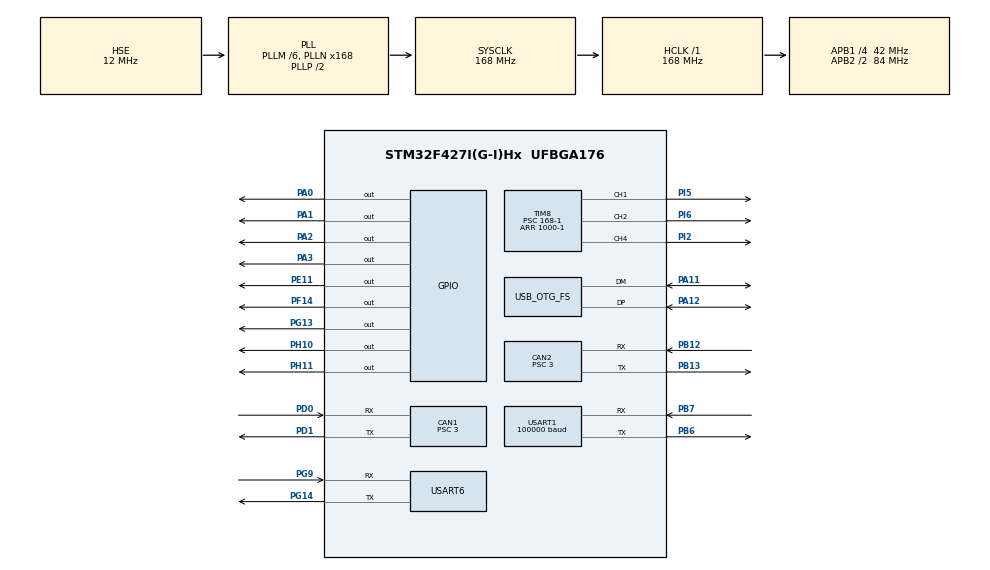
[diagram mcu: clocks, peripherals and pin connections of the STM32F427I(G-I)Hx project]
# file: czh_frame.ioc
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CAN1.BS1=CAN_BS1_9TQ
CAN1.BS2=CAN_BS2_4TQ
CAN1.CalculateBaudRate=1000000
CAN1.CalculateTimeBit=1000
CAN1.CalculateTimeQuantum=71.42857142857143
CAN1.Prescaler=3
CAN2.BS1=CAN_BS1_9TQ
CAN2.BS2=CAN_BS2_4TQ
CAN2.CalculateBaudRate=1000000
CAN2.CalculateTimeBit=1000
CAN2.CalculateTimeQuantum=71.42857142857143
CAN2.Prescaler=3
Dma.Request0=USART1_RX
Dma.USART1_RX.0.Direction=DMA_PERIPH_TO_MEMORY
Dma.USART1_RX.0.FIFOMode=DMA_FIFOMODE_DISABLE
Dma.USART1_RX.0.Instance=DMA2_Stream5
Dma.USART1_RX.0.MemDataAlignment=DMA_MDATAALIGN_BYTE
Dma.USART1_RX.0.MemInc=DMA_MINC_ENABLE
Dma.USART1_RX.0.Mode=DMA_NORMAL
Dma.USART1_RX.0.PeriphDataAlignment=DMA_PDATAALIGN_BYTE
Dma.USART1_RX.0.PeriphInc=DMA_PINC_DISABLE
Dma.USART1_RX.0.Priority=DMA_PRIORITY_LOW
Mcu.Family=STM32F4
Mcu.Name=STM32F427I(G-I)Hx
Mcu.Package=UFBGA176
NVIC.CAN1_RX0_IRQn=true\:0\:0\:true\:false\:true\:true\:true\:true
NVIC.CAN1_RX1_IRQn=true\:0\:0\:true\:false\:true\:true\:true\:true
NVIC.CAN2_RX0_IRQn=true\:0\:0\:false\:false\:true\:true\:true\:true
NVIC.CAN2_RX1_IRQn=true\:0\:0\:false\:false\:true\:true\:true\:true
NVIC.DMA2_Stream5_IRQn=true\:0\:0\:false\:false\:true\:false\:true\:true
NVIC.OTG_FS_IRQn=true\:0\:0\:false\:false\:true\:true\:true\:true
NVIC.PriorityGroup=NVIC_PRIORITYGROUP_4
NVIC.USART1_IRQn=true\:1\:0\:true\:false\:true\:true\:true\:true
NVIC.USART6_IRQn=true\:0\:0\:true\:false\:true\:true\:true\:true
PA0/WKUP.GPIO_PuPd=GPIO_PULLUP
PA0/WKUP.Signal=GPIO_Output
PA1.GPIO_PuPd=GPIO_PULLUP
PA1.Signal=GPIO_Output
PA11.Mode=Device_Only
PA11.Signal=USB_OTG_FS_DM
PA12.Mode=Device_Only
PA12.Signal=USB_OTG_FS_DP
PA13.Mode=Serial_Wire
PA13.Signal=SYS_JTMS-SWDIO
PA14.Mode=Serial_Wire
PA14.Signal=SYS_JTCK-SWCLK
PA2.GPIO_PuPd=GPIO_PULLUP
PA2.Signal=GPIO_Output
PA3.GPIO_PuPd=GPIO_PULLUP
PA3.Signal=GPIO_Output
PB12.Mode=CAN_Activate
PB12.Signal=CAN2_RX
PB13.Mode=CAN_Activate
PB13.Signal=CAN2_TX
PB6.Mode=Asynchronous
PB6.Signal=USART1_TX
PB7.Mode=Asynchronous
PB7.Signal=USART1_RX
PD0.Mode=CAN_Activate
PD0.Signal=CAN1_RX
PD1.Mode=CAN_Activate
PD1.Signal=CAN1_TX
PE11.GPIO_PuPd=GPIO_PULLUP
PE11.Signal=GPIO_Output
PF14.GPIO_PuPd=GPIO_PULLUP
PF14.Signal=GPIO_Output
PG13.GPIO_ModeDefaultOutputPP=GPIO_MODE_OUTPUT_PP
PG13.GPIO_PuPd=GPIO_PULLUP
PG13.GPIO_Speed=GPIO_SPEED_FREQ_LOW
PG13.PinState=GPIO_PIN_RESET
PG13.Signal=GPIO_Output
PG14.Mode=Asynchronous
PG14.Signal=USART6_TX
PG9.Mode=Asynchronous
PG9.Signal=USART6_RX
PH0/OSC_IN.Mode=HSE-External-Oscillator
PH0/OSC_IN.Signal=RCC_OSC_IN
PH1/OSC_OUT.Mode=HSE-External-Oscillator
PH1/OSC_OUT.Signal=RCC_OSC_OUT
PH10.GPIO_PuPd=GPIO_PULLUP
PH10.Signal=GPIO_Output
PH11.GPIO_PuPd=GPIO_PULLUP
PH11.Signal=GPIO_Output
PI2.Signal=S_TIM8_CH4
PI5.Signal=S_TIM8_CH1
PI6.Signal=S_TIM8_CH2
ProjectManager.HeapSize=0x200
ProjectManager.StackSize=0x400
ProjectManager.TargetToolchain=STM32CubeIDE
RCC.48MHZClocksFreq_Value=48000000
RCC.AHBFreq_Value=168000000
RCC.APB1CLKDivider=RCC_HCLK_DIV4
RCC.APB1Freq_Value=42000000
RCC.APB1TimFreq_Value=84000000
RCC.APB2CLKDivider=RCC_HCLK_DIV2
RCC.APB2Freq_Value=84000000
RCC.APB2TimFreq_Value=168000000
RCC.CortexFreq_Value=168000000
RCC.HCLKFreq_Value=168000000
RCC.HSE_VALUE=12000000
RCC.HSI_VALUE=16000000
RCC.LSE_VALUE=32768
RCC.PLLM=6
RCC.PLLN=168
RCC.PLLQ=7
RCC.SYSCLKFreq_VALUE=168000000
RCC.SYSCLKSource=RCC_SYSCLKSOURCE_PLLCLK
RCC.VCOOutputFreq_Value=336000000
SH.S_TIM8_CH1.0=TIM8_CH1,PWM Generation1 CH1
SH.S_TIM8_CH2.0=TIM8_CH2,PWM Generation2 CH2
SH.S_TIM8_CH4.0=TIM8_CH4,PWM Generation4 CH4
TIM2.Period=1000
TIM2.Prescaler=8400-1
TIM3.Period=1000
TIM3.Prescaler=8400-1
TIM4.Period=1000
TIM4.Prescaler=8400-1
TIM8.Channel-PWM\ Generation1\ CH1=TIM_CHANNEL_1
TIM8.Channel-PWM\ Generation2\ CH2=TIM_CHANNEL_2
TIM8.Channel-PWM\ Generation4\ CH4=TIM_CHANNEL_4
TIM8.CounterMode=TIM_COUNTERMODE_UP
TIM8.Period=1000-1
TIM8.Prescaler=168-1
TIM8.RepetitionCounter=0
USART1.BaudRate=100000
USART1.Parity=PARITY_EVEN
USART1.VirtualMode=VM_ASYNC
USART1.WordLength=WORDLENGTH_9B
USART6.VirtualMode=VM_ASYNC
USB_DEVICE.CLASS_NAME_FS=CDC
USB_DEVICE.PID_CDC_FS=202
USB_DEVICE.VirtualMode-CDC_FS=Cdc
USB_DEVICE.VirtualModeFS=Cdc_FS
USB_OTG_FS.VirtualMode=Device_Only
VP_TIM2_VS_ClockSourceINT.Mode=Internal
VP_TIM3_VS_ClockSourceINT.Mode=Internal
VP_TIM4_VS_ClockSourceINT.Mode=Internal
VP_TIM8_VS_ClockSourceINT.Mode=Internal
VP_USB_DEVICE_VS_USB_DEVICE_CDC_FS.Mode=CDC_FS
board=custom

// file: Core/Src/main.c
/* USER CODE BEGIN Header */
/**
  ******************************************************************************
  * @file           : main.c
  * @brief          : Main program body
  ******************************************************************************
  * @attention
  *
  * Copyright (c) 2024 STMicroelectronics.
  * All rights reserved.
  *
  * This software is licensed under terms that can be found in the LICENSE file
  * in the root directory of this software component.
  * If no LICENSE file comes with this software, it is provided AS-IS.
  *
  ******************************************************************************
  */
/* USER CODE END Header */
#include "main.h"
#include "can.h"
#include "dma.h"
#include "tim.h"
#include "usart.h"
#include "usb_device.h"
#include "gpio.h"

/* USER CODE BEGIN Includes */
#include "usb.h"
#include "daemon.h"
#include "bsp_log.h"
#include "bsp_dwt.h"
#include "dji_motor.h"
// #include "master_process.h"
/* USER CODE END Includes */

/* USER CODE BEGIN PTD */
uint8_t *vis_recv_buff;
int i = 0;
static DJIMotorInstance *friction_l, *friction_r;
float b[4] = {0.0, 2.3, 3.4, 4.5};
/* USER CODE END PTD */

void SystemClock_Config(void);

int main(void)
{

  /* MCU Configuration--------------------------------------------------------*/

  /* Reset of all peripherals, Initializes the Flash interface and the Systick. */
  HAL_Init();

  /* Configure the system clock */
  SystemClock_Config();

  /* Initialize all configured peripherals */
  MX_GPIO_Init();
  MX_DMA_Init();
  MX_USART1_UART_Init();
  MX_TIM8_Init();
  MX_CAN1_Init();
  MX_TIM2_Init();
  MX_TIM3_Init();
  MX_TIM4_Init();
  MX_USART6_UART_Init();
  MX_USB_DEVICE_Init();
  MX_CAN2_Init();
  /* USER CODE BEGIN 2 */
  DWT_Init(168);
  example_init(vis_recv_buff);//注册usb样例
  BSPLogInit();
  Motor_Init_Config_s friction_config = {
      .can_init_config = {
          .can_handle = &hcan1,
      },
      .controller_param_init_config = {
          .speed_PID = {
              .Kp = 1.5, .Ki = 0, .Kd = 0.001, .Improve = PID_Integral_Limit | PID_OutputFilter, .IntegralLimit = 10000, .MaxOut = 20000, .Output_LPF_RC = 0.001,
          },
      },
      .controller_setting_init_config = {
          .angle_feedback_source = MOTOR_FEED,
          .speed_feedback_source = MOTOR_FEED,

          .outer_loop_type    = SPEED_LOOP,
          .close_loop_type    = SPEED_LOOP,
          .motor_reverse_flag = MOTOR_DIRECTION_NORMAL,
      },
      .motor_type = GM6020};
  friction_config.can_init_config.tx_id = 1;
  friction_l                            = DJIMotorInit(&friction_config);

  friction_config.can_init_config.tx_id                             = 3; // 右摩擦轮,改txid和方向就行
  friction_config.controller_setting_init_config.motor_reverse_flag = MOTOR_DIRECTION_REVERSE;
  friction_r                                                        = DJIMotorInit(&friction_config);

  DJIMotorEnable(friction_l);
  DJIMotorEnable(friction_r);
  /* USER CODE END 2 */

  /* Infinite loop */
  while (1)
  {

    /* USER CODE BEGIN 3 */
    b[0]+=0.1;
    USB_Data_Send((uint8_t*)b,16);//测试1000hz发送，无意义
    DaemonTask();//守护线程
    // LOGWARNING("[bsp_usart] USART error callback triggered, instance idx [%d]", i);
    // DJIMotorSetRef(friction_l, 100); // 45000
    // DJIMotorSetRef(friction_r, 0);
    // DJIMotorControl();
    DWT_Delay(0.001);//务必使用这个延时函数，丢弃HAL_Delay()
  }
  /* USER CODE END 3 */
}

void SystemClock_Config(void)
{
  RCC_OscInitTypeDef RCC_OscInitStruct = {0};
  RCC_ClkInitTypeDef RCC_ClkInitStruct = {0};

  /** Configure the main internal regulator output voltage
  */
  __HAL_RCC_PWR_CLK_ENABLE();
  __HAL_PWR_VOLTAGESCALING_CONFIG(PWR_REGULATOR_VOLTAGE_SCALE1);

  /** Initializes the RCC Oscillators according to the specified parameters
  * in the RCC_OscInitTypeDef structure.
  */
  RCC_OscInitStruct.OscillatorType = RCC_OSCILLATORTYPE_HSE;
  RCC_OscInitStruct.HSEState = RCC_HSE_ON;
  RCC_OscInitStruct.PLL.PLLState = RCC_PLL_ON;
  RCC_OscInitStruct.PLL.PLLSource = RCC_PLLSOURCE_HSE;
  RCC_OscInitStruct.PLL.PLLM = 6;
  RCC_OscInitStruct.PLL.PLLN = 168;
  RCC_OscInitStruct.PLL.PLLP = RCC_PLLP_DIV2;
  RCC_OscInitStruct.PLL.PLLQ = 7;
  if (HAL_RCC_OscConfig(&RCC_OscInitStruct) != HAL_OK)
  {
    Error_Handler();
  }

  /** Initializes the CPU, AHB and APB buses clocks
  */
  RCC_ClkInitStruct.ClockType = RCC_CLOCKTYPE_HCLK|RCC_CLOCKTYPE_SYSCLK
                              |RCC_CLOCKTYPE_PCLK1|RCC_CLOCKTYPE_PCLK2;
  RCC_ClkInitStruct.SYSCLKSource = RCC_SYSCLKSOURCE_PLLCLK;
  RCC_ClkInitStruct.AHBCLKDivider = RCC_SYSCLK_DIV1;
  RCC_ClkInitStruct.APB1CLKDivider = RCC_HCLK_DIV4;
  RCC_ClkInitStruct.APB2CLKDivider = RCC_HCLK_DIV2;

  if (HAL_RCC_ClockConfig(&RCC_ClkInitStruct, FLASH_LATENCY_5) != HAL_OK)
  {
    Error_Handler();
  }
}

void Error_Handler(void)
{
  __disable_irq();
  while (1)
  {
  }
}
